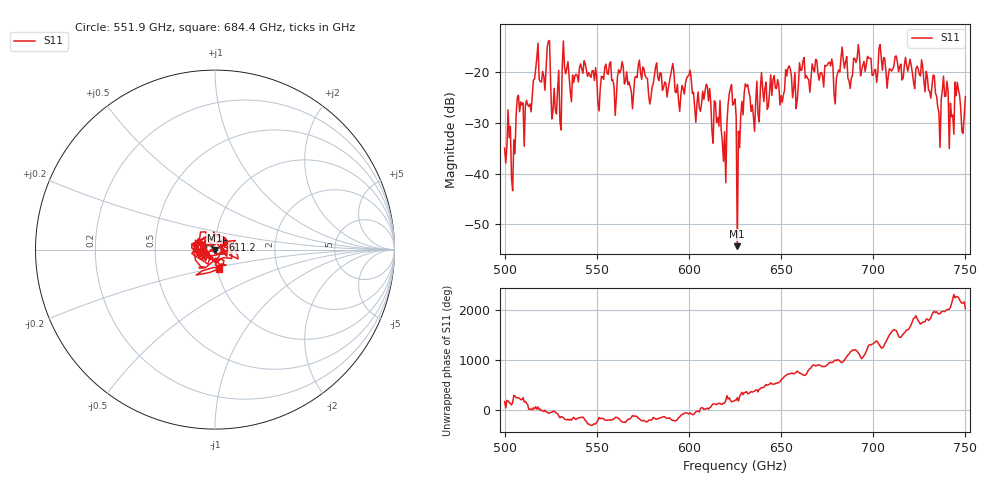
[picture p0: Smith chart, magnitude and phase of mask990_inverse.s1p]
!Created with skrf (http://scikit-rf.org).
# GHz S MA R 50.0
!freq magS11 angS11
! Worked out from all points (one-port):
!   401 points, 500 GHz to 750 GHz, reference 50 ohm
!   lowest |S11| = -54.3 dB at 626.2 GHz (marker M1), VSWR 1.00, Z = 49.9 - j0.181 ohm
!   |S11| at or under -10 dB: start of sweep to end of sweep
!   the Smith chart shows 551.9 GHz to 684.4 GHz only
!   S11 on the Smith chart (normalised r, x): 551.9 GHz: 0.87, -0.02; 611.2 GHz: 1.08, +0.12; 684.4 GHz: 1.02, -0.22
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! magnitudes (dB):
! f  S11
! 500 GHz  -35.0
! 505 GHz  -33.3
! 507.5 GHz  -24.6
! 511.9 GHz  -25.6
! 516.9 GHz  -19.4
! 523.8 GHz  -14.0
! 526.9 GHz  -23.2
! 531.2 GHz  -19.1
! 533.1 GHz  -20.3
! 551.9 GHz  -23.4
! 562.5 GHz  -20.2
! 593.8 GHz  -22.4
! 611.2 GHz  -23.2
! 618.8 GHz  -37.6
! 623.8 GHz  -26.5
! 625 GHz  -25.3
! 626.2 GHz  -54.3
! 631.2 GHz  -22.9
! 635 GHz  -28.8
! 656.2 GHz  -25.1
! 684.4 GHz  -19.3
! 687.5 GHz  -23.2
! 718.8 GHz  -19.8
! 735.6 GHz  -27.9
! 739.4 GHz  -24.7
! 742.5 GHz  -28.8
! 745.6 GHz  -22.0
! 750 GHz  -24.9
